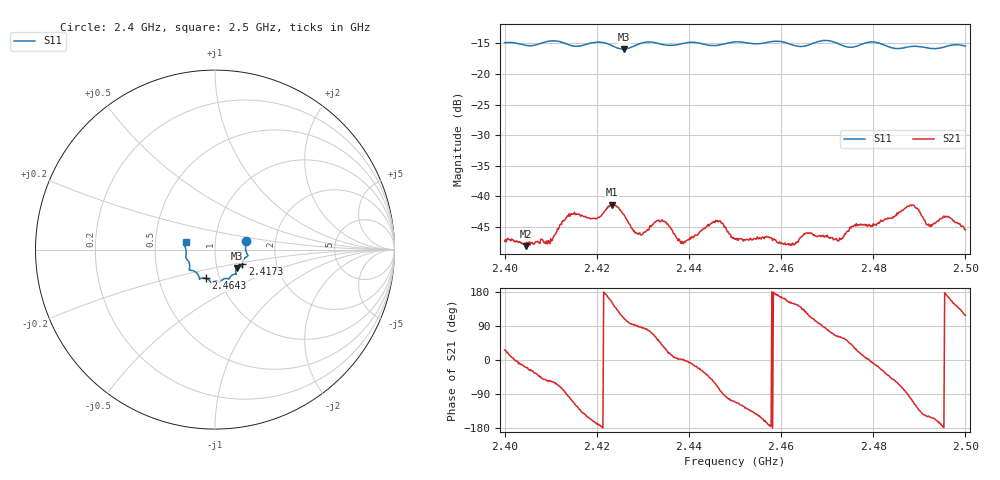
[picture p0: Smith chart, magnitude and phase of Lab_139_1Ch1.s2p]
# Hz S RI R 50
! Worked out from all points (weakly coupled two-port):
!   601 points, 2.4 GHz to 2.5 GHz, reference 50 ohm
!   highest |S21| = -41.39 dB at 2.4233 GHz (marker M1); lowest = -48.2 dB at 2.4047 GHz (marker M2)
!   lowest |S11| = -15.9 dB at 2.4258 GHz (marker M3), VSWR 1.38, Z = 62.3 - j13.2 ohm
!   |S11| at or under -10 dB: start of sweep to end of sweep
!   S12 and S22 are empty: the file has one direction only
!   S11 on the Smith chart (normalised r, x): 2.4 GHz: 1.41, +0.14; 2.4173 GHz: 1.34, -0.23; 2.4643 GHz: 0.86, -0.28; 2.5 GHz: 0.72, +0.06
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2.4e9  0.1733 0.0491  0.00385 0.0019  0 0  0 0
2.404667e9  0.1705 0.0176  0.00368 -0.00133  0 0  0 0
2.409833e9  0.1829 -0.0321  0.00236 -0.00336  0 0  0 0
2.413833e9  0.1675 -0.0456  -0.000752 -0.00684  0 0  0 0
2.416667e9  0.153 -0.0748  -0.00507 -0.00487  0 0  0 0
2.417333e9  0.1521 -0.0823  -0.00544 -0.00411  0 0  0 0
2.423333e9  0.1425 -0.0935  -0.00749 0.00407  0 0  0 0
2.425833e9  0.1216 -0.1034  -0.00258 0.00666  0 0  0 0
2.429333e9  0.1165 -0.1331  0.000247 0.005  0 0  0 0
2.433333e9  0.113 -0.137  0.00376 0.00515  0 0  0 0
2.438667e9  0.0809 -0.158  0.00415 5.59e-05  0 0  0 0
2.446333e9  0.045 -0.166  0.00191 -0.00588  0 0  0 0
2.45e9  0.0294 -0.1807  -0.00159 -0.00416  0 0  0 0
2.464333e9  -0.0499 -0.1602  -0.00352 0.003  0 0  0 0
2.466667e9  -0.0757 -0.1593  -0.00177 0.00466  0 0  0 0
2.472667e9  -0.0894 -0.1504  0.00215 0.004  0 0  0 0
2.475833e9  -0.1147 -0.1209  0.00486 0.00307  0 0  0 0
2.483333e9  -0.1408 -0.0899  0.005 -0.00427  0 0  0 0
2.4885e9  -0.1611 -0.0482  -0.00274 -0.00802  0 0  0 0
2.492e9  -0.1608 -0.0258  -0.00501 -0.00318  0 0  0 0
2.495833e9  -0.1671 0.0174  -0.00683 0.000866  0 0  0 0
2.5e9  -0.1638 0.042  -0.00251 0.0047  0 0  0 0
